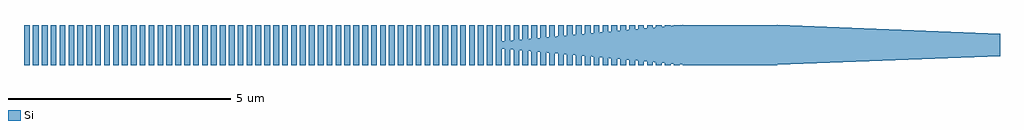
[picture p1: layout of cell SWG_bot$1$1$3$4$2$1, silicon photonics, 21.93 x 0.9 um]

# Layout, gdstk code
import gdstk
lib = gdstk.Library(unit=1e-6, precision=1e-09)
def R(c, l, rs):  # rectangles x0, y0, x1, y1
    for r in rs: c.add(gdstk.rectangle(r[:2], r[2:], *l))
def P(c, l, *ps):  # polygons
    for p in ps: c.add(gdstk.Polygon(p, *l))
Si = (1, 0)

taper_right_1_1_3_4_2_1 = lib.new_cell('taper_right$1$1$3$4$2$1')
P(taper_right_1_1_3_4_2_1, Si, [(18.935,-1.293),(14.745,-0.919),(14.745,-0.769),(18.935,-0.394)])

swg_bot_period_21_1_1_3_ = lib.new_cell('SWG_bot_period_21$1$1$3$4$2$1')
R(swg_bot_period_21_1_1_3_, Si, [(4.135,-1.294,4.265,-0.395)])

swg_bot_period_22_1_1_3_ = lib.new_cell('SWG_bot_period_22$1$1$3$4$2$1')
R(swg_bot_period_22_1_1_3_, Si, [(4.335,-1.294,4.465,-0.395)])

swg_bot_period_23_1_1_3_ = lib.new_cell('SWG_bot_period_23$1$1$3$4$2$1')
R(swg_bot_period_23_1_1_3_, Si, [(4.535,-1.294,4.665,-0.395)])

swg_bot_period_24_1_1_3_ = lib.new_cell('SWG_bot_period_24$1$1$3$4$2$1')
R(swg_bot_period_24_1_1_3_, Si, [(4.735,-1.294,4.865,-0.395)])

swg_bot_period_25_1_1_3_ = lib.new_cell('SWG_bot_period_25$1$1$3$4$2$1')
R(swg_bot_period_25_1_1_3_, Si, [(4.935,-1.294,5.065,-0.395)])

swg_bot_period_26_1_1_3_ = lib.new_cell('SWG_bot_period_26$1$1$3$4$2$1')
R(swg_bot_period_26_1_1_3_, Si, [(5.135,-1.294,5.265,-0.395)])

swg_bot_period_27_1_1_3_ = lib.new_cell('SWG_bot_period_27$1$1$3$4$2$1')
R(swg_bot_period_27_1_1_3_, Si, [(5.335,-1.294,5.465,-0.395)])

swg_bot_period_28_1_1_3_ = lib.new_cell('SWG_bot_period_28$1$1$3$4$2$1')
R(swg_bot_period_28_1_1_3_, Si, [(5.535,-1.294,5.665,-0.395)])

swg_bot_period_29_1_1_3_ = lib.new_cell('SWG_bot_period_29$1$1$3$4$2$1')
R(swg_bot_period_29_1_1_3_, Si, [(5.735,-1.294,5.865,-0.395)])

swg_bot_period_30_1_1_3_ = lib.new_cell('SWG_bot_period_30$1$1$3$4$2$1')
R(swg_bot_period_30_1_1_3_, Si, [(5.935,-1.294,6.065,-0.395)])

swg_bot_period_31_1_1_3_ = lib.new_cell('SWG_bot_period_31$1$1$3$4$2$1')
R(swg_bot_period_31_1_1_3_, Si, [(6.135,-1.294,6.265,-0.395)])

swg_bot_period_32_1_1_3_ = lib.new_cell('SWG_bot_period_32$1$1$3$4$2$1')
R(swg_bot_period_32_1_1_3_, Si, [(6.335,-1.294,6.465,-0.395)])

swg_bot_period_33_1_1_3_ = lib.new_cell('SWG_bot_period_33$1$1$3$4$2$1')
R(swg_bot_period_33_1_1_3_, Si, [(6.535,-1.294,6.665,-0.395)])

swg_bot_period_34_1_1_3_ = lib.new_cell('SWG_bot_period_34$1$1$3$4$2$1')
R(swg_bot_period_34_1_1_3_, Si, [(6.735,-1.294,6.865,-0.395)])

swg_bot_period_35_1_1_3_ = lib.new_cell('SWG_bot_period_35$1$1$3$4$2$1')
R(swg_bot_period_35_1_1_3_, Si, [(6.935,-1.294,7.065,-0.395)])

swg_bot_period_36_1_1_3_ = lib.new_cell('SWG_bot_period_36$1$1$3$4$2$1')
R(swg_bot_period_36_1_1_3_, Si, [(7.135,-1.294,7.265,-0.395)])

swg_bot_period_37_1_1_3_ = lib.new_cell('SWG_bot_period_37$1$1$3$4$2$1')
R(swg_bot_period_37_1_1_3_, Si, [(7.335,-1.294,7.465,-0.395)])

swg_bot_period_38_1_1_3_ = lib.new_cell('SWG_bot_period_38$1$1$3$4$2$1')
R(swg_bot_period_38_1_1_3_, Si, [(7.535,-1.294,7.665,-0.395)])

swg_bot_period_39_1_1_3_ = lib.new_cell('SWG_bot_period_39$1$1$3$4$2$1')
R(swg_bot_period_39_1_1_3_, Si, [(7.735,-1.294,7.865,-0.395)])

swg_bot_period_40_1_1_3_ = lib.new_cell('SWG_bot_period_40$1$1$3$4$2$1')
R(swg_bot_period_40_1_1_3_, Si, [(7.935,-1.294,8.065,-0.395)])

swg_bot_period_41_1_1_3_ = lib.new_cell('SWG_bot_period_41$1$1$3$4$2$1')
R(swg_bot_period_41_1_1_3_, Si, [(8.135,-1.294,8.265,-0.395)])

swg_bot_period_42_1_1_3_ = lib.new_cell('SWG_bot_period_42$1$1$3$4$2$1')
R(swg_bot_period_42_1_1_3_, Si, [(8.335,-1.294,8.465,-0.395)])

swg_bot_period_43_1_1_3_ = lib.new_cell('SWG_bot_period_43$1$1$3$4$2$1')
R(swg_bot_period_43_1_1_3_, Si, [(8.535,-1.294,8.665,-0.395)])

swg_bot_period_44_1_1_3_ = lib.new_cell('SWG_bot_period_44$1$1$3$4$2$1')
R(swg_bot_period_44_1_1_3_, Si, [(8.735,-1.294,8.865,-0.395)])

swg_bot_period_45_1_1_3_ = lib.new_cell('SWG_bot_period_45$1$1$3$4$2$1')
R(swg_bot_period_45_1_1_3_, Si, [(8.935,-1.294,9.065,-0.395)])

swg_bot_period_46_1_1_3_ = lib.new_cell('SWG_bot_period_46$1$1$3$4$2$1')
R(swg_bot_period_46_1_1_3_, Si, [(9.135,-1.294,9.265,-0.395)])

swg_bot_period_47_1_1_3_ = lib.new_cell('SWG_bot_period_47$1$1$3$4$2$1')
R(swg_bot_period_47_1_1_3_, Si, [(9.335,-1.294,9.465,-0.395)])

swg_bot_period_48_1_1_3_ = lib.new_cell('SWG_bot_period_48$1$1$3$4$2$1')
R(swg_bot_period_48_1_1_3_, Si, [(9.535,-1.294,9.665,-0.395)])

swg_bot_period_49_1_1_3_ = lib.new_cell('SWG_bot_period_49$1$1$3$4$2$1')
R(swg_bot_period_49_1_1_3_, Si, [(9.735,-1.294,9.865,-0.395)])

swg_bot_period_50_1_1_3_ = lib.new_cell('SWG_bot_period_50$1$1$3$4$2$1')
R(swg_bot_period_50_1_1_3_, Si, [(9.935,-1.294,10.065,-0.395)])

swg_bot_period_51_1_1_3_ = lib.new_cell('SWG_bot_period_51$1$1$3$4$2$1')
R(swg_bot_period_51_1_1_3_, Si, [(10.135,-1.294,10.265,-0.395)])

swg_bot_period_52_1_1_3_ = lib.new_cell('SWG_bot_period_52$1$1$3$4$2$1')
R(swg_bot_period_52_1_1_3_, Si, [(10.335,-1.294,10.465,-0.395)])

swg_bot_period_53_1_1_3_ = lib.new_cell('SWG_bot_period_53$1$1$3$4$2$1')
R(swg_bot_period_53_1_1_3_, Si, [(10.535,-1.294,10.665,-0.395)])

swg_bot_period_54_1_1_3_ = lib.new_cell('SWG_bot_period_54$1$1$3$4$2$1')
R(swg_bot_period_54_1_1_3_, Si, [(10.735,-1.294,10.865,-0.395)])

swg_bot_period_55_1_1_3_ = lib.new_cell('SWG_bot_period_55$1$1$3$4$2$1')
R(swg_bot_period_55_1_1_3_, Si, [(10.935,-1.294,11.065,-0.395)])

swg_bot_period_56_1_1_3_ = lib.new_cell('SWG_bot_period_56$1$1$3$4$2$1')
R(swg_bot_period_56_1_1_3_, Si, [(11.135,-1.294,11.265,-0.395)])

swg_bot_period_57_1_1_3_ = lib.new_cell('SWG_bot_period_57$1$1$3$4$2$1')
R(swg_bot_period_57_1_1_3_, Si, [(11.335,-1.294,11.465,-0.395)])

swg_bot_period_58_1_1_3_ = lib.new_cell('SWG_bot_period_58$1$1$3$4$2$1')
R(swg_bot_period_58_1_1_3_, Si, [(11.535,-1.294,11.665,-0.395)])

swg_bot_period_59_1_1_3_ = lib.new_cell('SWG_bot_period_59$1$1$3$4$2$1')
R(swg_bot_period_59_1_1_3_, Si, [(11.735,-1.294,11.865,-0.395)])

swg_bot_period_60_1_1_3_ = lib.new_cell('SWG_bot_period_60$1$1$3$4$2$1')
R(swg_bot_period_60_1_1_3_, Si, [(11.935,-1.294,12.065,-0.395)])

swg_bot_period_61_1_1_3_ = lib.new_cell('SWG_bot_period_61$1$1$3$4$2$1')
R(swg_bot_period_61_1_1_3_, Si, [(12.135,-1.294,12.265,-0.395)])

swg_bot_period_62_1_1_3_ = lib.new_cell('SWG_bot_period_62$1$1$3$4$2$1')
R(swg_bot_period_62_1_1_3_, Si, [(12.335,-1.294,12.465,-0.395)])

swg_bot_period_63_1_1_3_ = lib.new_cell('SWG_bot_period_63$1$1$3$4$2$1')
R(swg_bot_period_63_1_1_3_, Si, [(12.535,-1.294,12.665,-0.395)])

swg_bot_period_64_1_1_3_ = lib.new_cell('SWG_bot_period_64$1$1$3$4$2$1')
R(swg_bot_period_64_1_1_3_, Si, [(12.735,-1.294,12.865,-0.395)])

swg_bot_period_65_1_1_3_ = lib.new_cell('SWG_bot_period_65$1$1$3$4$2$1')
R(swg_bot_period_65_1_1_3_, Si, [(12.935,-1.294,13.065,-0.395)])

swg_bot_period_66_1_1_3_ = lib.new_cell('SWG_bot_period_66$1$1$3$4$2$1')
R(swg_bot_period_66_1_1_3_, Si, [(13.135,-1.294,13.265,-0.395)])

swg_bot_period_67_1_1_3_ = lib.new_cell('SWG_bot_period_67$1$1$3$4$2$1')
R(swg_bot_period_67_1_1_3_, Si, [(13.335,-1.294,13.465,-0.395)])

swg_bot_period_68_1_1_3_ = lib.new_cell('SWG_bot_period_68$1$1$3$4$2$1')
R(swg_bot_period_68_1_1_3_, Si, [(13.535,-1.294,13.665,-0.395)])

swg_bot_period_69_1_1_3_ = lib.new_cell('SWG_bot_period_69$1$1$3$4$2$1')
R(swg_bot_period_69_1_1_3_, Si, [(13.735,-1.294,13.865,-0.395)])

swg_bot_period_70_1_1_3_ = lib.new_cell('SWG_bot_period_70$1$1$3$4$2$1')
R(swg_bot_period_70_1_1_3_, Si, [(13.935,-1.294,14.065,-0.395)])

swg_bot_period_71_1_1_3_ = lib.new_cell('SWG_bot_period_71$1$1$3$4$2$1')
R(swg_bot_period_71_1_1_3_, Si, [(14.135,-1.294,14.265,-0.395)])

swg_bot_period_72_1_1_3_ = lib.new_cell('SWG_bot_period_72$1$1$3$4$2$1')
R(swg_bot_period_72_1_1_3_, Si, [(14.335,-1.294,14.465,-0.395)])

swg_bot_period_73_1_1_3_ = lib.new_cell('SWG_bot_period_73$1$1$3$4$2$1')
R(swg_bot_period_73_1_1_3_, Si, [(14.535,-1.294,14.665,-0.395)])

swg_bot_period_74_1_1_3_ = lib.new_cell('SWG_bot_period_74$1$1$3$4$2$1')
R(swg_bot_period_74_1_1_3_, Si, [(14.735,-1.294,14.865,-0.395)])

swg_bot_period_75_1_1_3_ = lib.new_cell('SWG_bot_period_75$1$1$3$4$2$1')
R(swg_bot_period_75_1_1_3_, Si, [(14.935,-1.294,15.065,-0.395)])

swg_bot_period_76_1_1_3_ = lib.new_cell('SWG_bot_period_76$1$1$3$4$2$1')
R(swg_bot_period_76_1_1_3_, Si, [(15.135,-1.294,15.265,-0.395)])

swg_bot_period_77_1_1_3_ = lib.new_cell('SWG_bot_period_77$1$1$3$4$2$1')
R(swg_bot_period_77_1_1_3_, Si, [(15.335,-1.294,15.465,-0.395)])

swg_bot_period_78_1_1_3_ = lib.new_cell('SWG_bot_period_78$1$1$3$4$2$1')
R(swg_bot_period_78_1_1_3_, Si, [(15.535,-1.294,15.665,-0.395)])

swg_bot_period_79_1_1_3_ = lib.new_cell('SWG_bot_period_79$1$1$3$4$2$1')
R(swg_bot_period_79_1_1_3_, Si, [(15.735,-1.294,15.865,-0.395)])

swg_bot_period_80_1_1_3_ = lib.new_cell('SWG_bot_period_80$1$1$3$4$2$1')
R(swg_bot_period_80_1_1_3_, Si, [(15.935,-1.294,16.065,-0.395)])

swg_bot_period_81_1_1_3_ = lib.new_cell('SWG_bot_period_81$1$1$3$4$2$1')
R(swg_bot_period_81_1_1_3_, Si, [(16.135,-1.294,16.265,-0.395)])

swg_bot_period_82_1_1_3_ = lib.new_cell('SWG_bot_period_82$1$1$3$4$2$1')
R(swg_bot_period_82_1_1_3_, Si, [(16.335,-1.294,16.465,-0.395)])

swg_bot_period_83_1_1_3_ = lib.new_cell('SWG_bot_period_83$1$1$3$4$2$1')
R(swg_bot_period_83_1_1_3_, Si, [(16.535,-1.294,16.665,-0.395)])

swg_bot_period_84_1_3_4_ = lib.new_cell('SWG_bot_period_84$1$3$4$2$1')
R(swg_bot_period_84_1_3_4_, Si, [(16.735,-1.294,16.865,-0.395)])

swg_bot_period_85_1_3_4_ = lib.new_cell('SWG_bot_period_85$1$3$4$2$1')
R(swg_bot_period_85_1_3_4_, Si, [(16.935,-1.294,17.065,-0.395)])

swg_bot_period_86_1_3_4_ = lib.new_cell('SWG_bot_period_86$1$3$4$2$1')
R(swg_bot_period_86_1_3_4_, Si, [(17.135,-1.294,17.265,-0.395)])

swg_bot_period_87_1_3_4_ = lib.new_cell('SWG_bot_period_87$1$3$4$2$1')
R(swg_bot_period_87_1_3_4_, Si, [(17.335,-1.294,17.465,-0.395)])

swg_bot_period_88_1_3_4_ = lib.new_cell('SWG_bot_period_88$1$3$4$2$1')
R(swg_bot_period_88_1_3_4_, Si, [(17.535,-1.294,17.665,-0.395)])

swg_bot_period_89_1_3_4_ = lib.new_cell('SWG_bot_period_89$1$3$4$2$1')
R(swg_bot_period_89_1_3_4_, Si, [(17.735,-1.294,17.865,-0.395)])

swg_bot_period_90_1_3_4_ = lib.new_cell('SWG_bot_period_90$1$3$4$2$1')
R(swg_bot_period_90_1_3_4_, Si, [(17.935,-1.294,18.065,-0.395)])

swg_bot_period_91_1_3_4_ = lib.new_cell('SWG_bot_period_91$1$3$4$2$1')
R(swg_bot_period_91_1_3_4_, Si, [(18.135,-1.294,18.265,-0.395)])

swg_bot_period_92_1_3_4_ = lib.new_cell('SWG_bot_period_92$1$3$4$2$1')
R(swg_bot_period_92_1_3_4_, Si, [(18.335,-1.294,18.465,-0.395)])

swg_bot_period_93_1_3_4_ = lib.new_cell('SWG_bot_period_93$1$3$4$2$1')
R(swg_bot_period_93_1_3_4_, Si, [(18.535,-1.294,18.665,-0.395)])

swg_bot_period_94_1_3_4_ = lib.new_cell('SWG_bot_period_94$1$3$4$2$1')
R(swg_bot_period_94_1_3_4_, Si, [(18.735,-1.294,18.865,-0.395)])

swg_bot_period_95_1_3_4_ = lib.new_cell('SWG_bot_period_95$1$3$4$2$1')
R(swg_bot_period_95_1_3_4_, Si, [(18.935,-1.294,19.065,-0.395)])

right_wg_1_3_4_2_1 = lib.new_cell('right_wg$1$3$4$2$1')
R(right_wg_1_3_4_2_1, Si, [(19.065,-1.294,21.065,-0.395)])

wg_taper_right_1_3_4_2_1 = lib.new_cell('wg_taper_right$1$3$4$2$1')
P(wg_taper_right_1_3_4_2_1, Si, [(21.065,-1.293),(21.065,-0.394),(26.065,-0.594),(26.065,-1.094)])

swg_bot_1_1_3_4_2_1 = lib.new_cell('SWG_bot$1$1$3$4$2$1')
swg_bot_1_1_3_4_2_1.add(gdstk.Reference(taper_right_1_1_3_4_2_1, (0,0)))
swg_bot_1_1_3_4_2_1.add(gdstk.Reference(swg_bot_period_21_1_1_3_, (0,0)))
swg_bot_1_1_3_4_2_1.add(gdstk.Reference(swg_bot_period_22_1_1_3_, (0,0)))
swg_bot_1_1_3_4_2_1.add(gdstk.Reference(swg_bot_period_23_1_1_3_, (0,0)))
swg_bot_1_1_3_4_2_1.add(gdstk.Reference(swg_bot_period_24_1_1_3_, (0,0)))
swg_bot_1_1_3_4_2_1.add(gdstk.Reference(swg_bot_period_25_1_1_3_, (0,0)))
swg_bot_1_1_3_4_2_1.add(gdstk.Reference(swg_bot_period_26_1_1_3_, (0,0)))
swg_bot_1_1_3_4_2_1.add(gdstk.Reference(swg_bot_period_27_1_1_3_, (0,0)))
swg_bot_1_1_3_4_2_1.add(gdstk.Reference(swg_bot_period_28_1_1_3_, (0,0)))
swg_bot_1_1_3_4_2_1.add(gdstk.Reference(swg_bot_period_29_1_1_3_, (0,0)))
swg_bot_1_1_3_4_2_1.add(gdstk.Reference(swg_bot_period_30_1_1_3_, (0,0)))
swg_bot_1_1_3_4_2_1.add(gdstk.Reference(swg_bot_period_31_1_1_3_, (0,0)))
swg_bot_1_1_3_4_2_1.add(gdstk.Reference(swg_bot_period_32_1_1_3_, (0,0)))
swg_bot_1_1_3_4_2_1.add(gdstk.Reference(swg_bot_period_33_1_1_3_, (0,0)))
swg_bot_1_1_3_4_2_1.add(gdstk.Reference(swg_bot_period_34_1_1_3_, (0,0)))
swg_bot_1_1_3_4_2_1.add(gdstk.Reference(swg_bot_period_35_1_1_3_, (0,0)))
swg_bot_1_1_3_4_2_1.add(gdstk.Reference(swg_bot_period_36_1_1_3_, (0,0)))
swg_bot_1_1_3_4_2_1.add(gdstk.Reference(swg_bot_period_37_1_1_3_, (0,0)))
swg_bot_1_1_3_4_2_1.add(gdstk.Reference(swg_bot_period_38_1_1_3_, (0,0)))
swg_bot_1_1_3_4_2_1.add(gdstk.Reference(swg_bot_period_39_1_1_3_, (0,0)))
swg_bot_1_1_3_4_2_1.add(gdstk.Reference(swg_bot_period_40_1_1_3_, (0,0)))
swg_bot_1_1_3_4_2_1.add(gdstk.Reference(swg_bot_period_41_1_1_3_, (0,0)))
swg_bot_1_1_3_4_2_1.add(gdstk.Reference(swg_bot_period_42_1_1_3_, (0,0)))
swg_bot_1_1_3_4_2_1.add(gdstk.Reference(swg_bot_period_43_1_1_3_, (0,0)))
swg_bot_1_1_3_4_2_1.add(gdstk.Reference(swg_bot_period_44_1_1_3_, (0,0)))
swg_bot_1_1_3_4_2_1.add(gdstk.Reference(swg_bot_period_45_1_1_3_, (0,0)))
swg_bot_1_1_3_4_2_1.add(gdstk.Reference(swg_bot_period_46_1_1_3_, (0,0)))
swg_bot_1_1_3_4_2_1.add(gdstk.Reference(swg_bot_period_47_1_1_3_, (0,0)))
swg_bot_1_1_3_4_2_1.add(gdstk.Reference(swg_bot_period_48_1_1_3_, (0,0)))
swg_bot_1_1_3_4_2_1.add(gdstk.Reference(swg_bot_period_49_1_1_3_, (0,0)))
swg_bot_1_1_3_4_2_1.add(gdstk.Reference(swg_bot_period_50_1_1_3_, (0,0)))
swg_bot_1_1_3_4_2_1.add(gdstk.Reference(swg_bot_period_51_1_1_3_, (0,0)))
swg_bot_1_1_3_4_2_1.add(gdstk.Reference(swg_bot_period_52_1_1_3_, (0,0)))
swg_bot_1_1_3_4_2_1.add(gdstk.Reference(swg_bot_period_53_1_1_3_, (0,0)))
swg_bot_1_1_3_4_2_1.add(gdstk.Reference(swg_bot_period_54_1_1_3_, (0,0)))
swg_bot_1_1_3_4_2_1.add(gdstk.Reference(swg_bot_period_55_1_1_3_, (0,0)))
swg_bot_1_1_3_4_2_1.add(gdstk.Reference(swg_bot_period_56_1_1_3_, (0,0)))
swg_bot_1_1_3_4_2_1.add(gdstk.Reference(swg_bot_period_57_1_1_3_, (0,0)))
swg_bot_1_1_3_4_2_1.add(gdstk.Reference(swg_bot_period_58_1_1_3_, (0,0)))
swg_bot_1_1_3_4_2_1.add(gdstk.Reference(swg_bot_period_59_1_1_3_, (0,0)))
swg_bot_1_1_3_4_2_1.add(gdstk.Reference(swg_bot_period_60_1_1_3_, (0,0)))
swg_bot_1_1_3_4_2_1.add(gdstk.Reference(swg_bot_period_61_1_1_3_, (0,0)))
swg_bot_1_1_3_4_2_1.add(gdstk.Reference(swg_bot_period_62_1_1_3_, (0,0)))
swg_bot_1_1_3_4_2_1.add(gdstk.Reference(swg_bot_period_63_1_1_3_, (0,0)))
swg_bot_1_1_3_4_2_1.add(gdstk.Reference(swg_bot_period_64_1_1_3_, (0,0)))
swg_bot_1_1_3_4_2_1.add(gdstk.Reference(swg_bot_period_65_1_1_3_, (0,0)))
swg_bot_1_1_3_4_2_1.add(gdstk.Reference(swg_bot_period_66_1_1_3_, (0,0)))
swg_bot_1_1_3_4_2_1.add(gdstk.Reference(swg_bot_period_67_1_1_3_, (0,0)))
swg_bot_1_1_3_4_2_1.add(gdstk.Reference(swg_bot_period_68_1_1_3_, (0,0)))
swg_bot_1_1_3_4_2_1.add(gdstk.Reference(swg_bot_period_69_1_1_3_, (0,0)))
swg_bot_1_1_3_4_2_1.add(gdstk.Reference(swg_bot_period_70_1_1_3_, (0,0)))
swg_bot_1_1_3_4_2_1.add(gdstk.Reference(swg_bot_period_71_1_1_3_, (0,0)))
swg_bot_1_1_3_4_2_1.add(gdstk.Reference(swg_bot_period_72_1_1_3_, (0,0)))
swg_bot_1_1_3_4_2_1.add(gdstk.Reference(swg_bot_period_73_1_1_3_, (0,0)))
swg_bot_1_1_3_4_2_1.add(gdstk.Reference(swg_bot_period_74_1_1_3_, (0,0)))
swg_bot_1_1_3_4_2_1.add(gdstk.Reference(swg_bot_period_75_1_1_3_, (0,0)))
swg_bot_1_1_3_4_2_1.add(gdstk.Reference(swg_bot_period_76_1_1_3_, (0,0)))
swg_bot_1_1_3_4_2_1.add(gdstk.Reference(swg_bot_period_77_1_1_3_, (0,0)))
swg_bot_1_1_3_4_2_1.add(gdstk.Reference(swg_bot_period_78_1_1_3_, (0,0)))
swg_bot_1_1_3_4_2_1.add(gdstk.Reference(swg_bot_period_79_1_1_3_, (0,0)))
swg_bot_1_1_3_4_2_1.add(gdstk.Reference(swg_bot_period_80_1_1_3_, (0,0)))
swg_bot_1_1_3_4_2_1.add(gdstk.Reference(swg_bot_period_81_1_1_3_, (0,0)))
swg_bot_1_1_3_4_2_1.add(gdstk.Reference(swg_bot_period_82_1_1_3_, (0,0)))
swg_bot_1_1_3_4_2_1.add(gdstk.Reference(swg_bot_period_83_1_1_3_, (0,0)))
swg_bot_1_1_3_4_2_1.add(gdstk.Reference(swg_bot_period_84_1_3_4_, (0,0)))
swg_bot_1_1_3_4_2_1.add(gdstk.Reference(swg_bot_period_85_1_3_4_, (0,0)))
swg_bot_1_1_3_4_2_1.add(gdstk.Reference(swg_bot_period_86_1_3_4_, (0,0)))
swg_bot_1_1_3_4_2_1.add(gdstk.Reference(swg_bot_period_87_1_3_4_, (0,0)))
swg_bot_1_1_3_4_2_1.add(gdstk.Reference(swg_bot_period_88_1_3_4_, (0,0)))
swg_bot_1_1_3_4_2_1.add(gdstk.Reference(swg_bot_period_89_1_3_4_, (0,0)))
swg_bot_1_1_3_4_2_1.add(gdstk.Reference(swg_bot_period_90_1_3_4_, (0,0)))
swg_bot_1_1_3_4_2_1.add(gdstk.Reference(swg_bot_period_91_1_3_4_, (0,0)))
swg_bot_1_1_3_4_2_1.add(gdstk.Reference(swg_bot_period_92_1_3_4_, (0,0)))
swg_bot_1_1_3_4_2_1.add(gdstk.Reference(swg_bot_period_93_1_3_4_, (0,0)))
swg_bot_1_1_3_4_2_1.add(gdstk.Reference(swg_bot_period_94_1_3_4_, (0,0)))
swg_bot_1_1_3_4_2_1.add(gdstk.Reference(swg_bot_period_95_1_3_4_, (0,0)))
swg_bot_1_1_3_4_2_1.add(gdstk.Reference(right_wg_1_3_4_2_1, (0,0)))
swg_bot_1_1_3_4_2_1.add(gdstk.Reference(wg_taper_right_1_3_4_2_1, (0,0)))

lib.write_gds('SWG_bot_1_1_3_4_2_1.gds')
